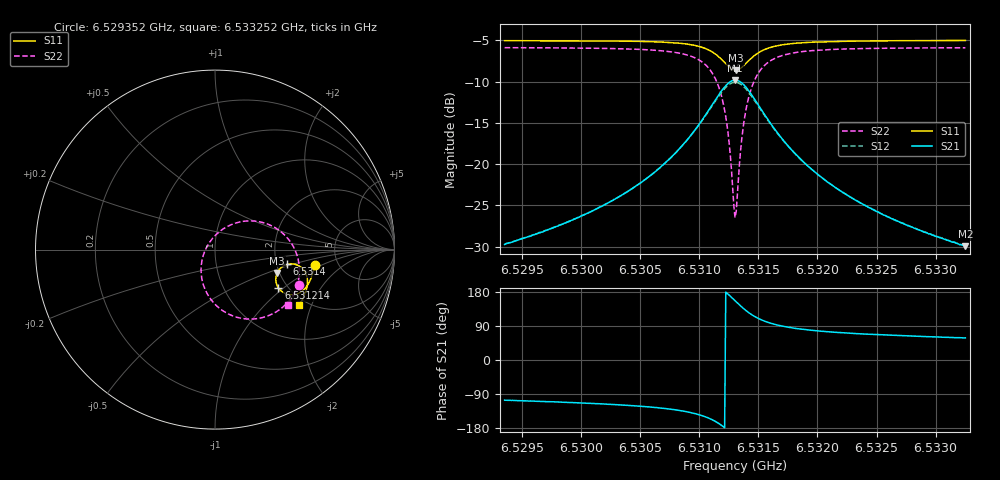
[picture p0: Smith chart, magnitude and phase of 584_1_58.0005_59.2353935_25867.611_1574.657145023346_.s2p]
#  HZ  S  RI  R  50.00
! Rohde & Schwarz Vector Network Analyzer
! Rohde-Schwarz,ZNB20-2Port,1311601062101988,3.16
! Created: UTC 3/21/2024, 1:16:26 AM
! freq[Hz]  re:S11  im:S11  re:S21  im:S21  re:S12  im:S12  re:S22  im:S22
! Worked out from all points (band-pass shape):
!   401 points, 6.529352 GHz to 6.533252 GHz, reference 50 ohm
!   highest |S21| = -9.82 dB at 6.531302 GHz (marker M1); lowest = -29.9 dB at 6.533252 GHz (marker M2)
!   |S21| within 3 dB of the highest: 6.531109 GHz to 6.531499 GHz (390.4 kHz wide, 0.00598 % of centre)
!   lowest |S11| = -8.6 dB at 6.531312 GHz (marker M3), VSWR 2.17, Z = 97.1 - j29.3 ohm
!   |S11| at or under -10 dB: nowhere
!   |S22| runs from -26.5 to -5.9 dB; largest |S21 - S12| = 0.013
!   S11 on the Smith chart (normalised r, x): 6.529352 GHz: 3.34, -0.81; 6.531214 GHz: 1.79, -0.92; 6.5314 GHz: 2.29, -0.45; 6.533252 GHz: 1.83, -1.64
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6.5293521e9  0.5544 -0.0837  -0.00898 -0.0313  -0.00961 -0.0314  0.4697 -0.1947
6.5300054e9  0.5422 -0.1385  -0.0194 -0.0446  -0.0205 -0.0442  0.4361 -0.2554
6.5303759e9  0.529 -0.1735  -0.0329 -0.0583  -0.0344 -0.0576  0.4005 -0.2991
6.5306586e9  0.5113 -0.2046  -0.0556 -0.0758  -0.0579 -0.0742  0.349 -0.3414
6.5308829e9  0.4825 -0.2336  -0.0979 -0.0949  -0.1007 -0.0912  0.2641 -0.3787
6.5310486e9  0.4363 -0.2512  -0.1695 -0.0995  -0.1716 -0.0923  0.1334 -0.3799
6.5311461e9  0.3895 -0.2439  -0.2416 -0.0698  -0.2401 -0.0596  0.0133 -0.3172
6.5312144e9  0.3536 -0.2135  -0.2935 -0.00702  -0.2867 0.00327  -0.0627 -0.2028
6.5312436e9  0.3429 -0.1917  -0.3067 0.0338  -0.2974 0.0427  -0.077 -0.1328
6.5312826e9  0.3391 -0.1568  -0.3064 0.0965  -0.2946 0.1017  -0.0648 -0.0305
6.5313021e9  0.3429 -0.1389  -0.2967 0.1278  -0.2847 0.131  -0.0436 0.0187
6.5313118e9  0.3462 -0.1304  -0.2896 0.1428  -0.2775 0.1447  -0.0294 0.0417
6.5313216e9  0.3502 -0.1222  -0.2811 0.1568  -0.2693 0.1577  -0.0132 0.0631
6.5313606e9  0.3739 -0.0959  -0.2363 0.2014  -0.2264 0.1989  0.0676 0.1281
6.5313996e9  0.4029 -0.0822  -0.1842 0.2244  -0.177 0.2206  0.1571 0.1574
6.5314678e9  0.4486 -0.0828  -0.1045 0.2244  -0.101 0.2208  0.2899 0.1434
6.5315653e9  0.488 -0.1065  -0.0369 0.1897  -0.0354 0.1878  0.3986 0.0702
6.5317116e9  0.5103 -0.1443  0.00296 0.1394  0.00408 0.1386  0.4569 -0.0305
6.5319553e9  0.5152 -0.1888  0.019 0.0905  0.02 0.0902  0.4697 -0.1318
6.5322673e9  0.5081 -0.2268  0.021 0.0603  0.0219 0.06  0.4574 -0.2014
6.5326086e9  0.4964 -0.2586  0.0197 0.0432  0.0205 0.0429  0.4393 -0.2486
6.5332521e9  0.4707 -0.3074  0.0166 0.0271  0.0174 0.0269  0.4045 -0.3071
